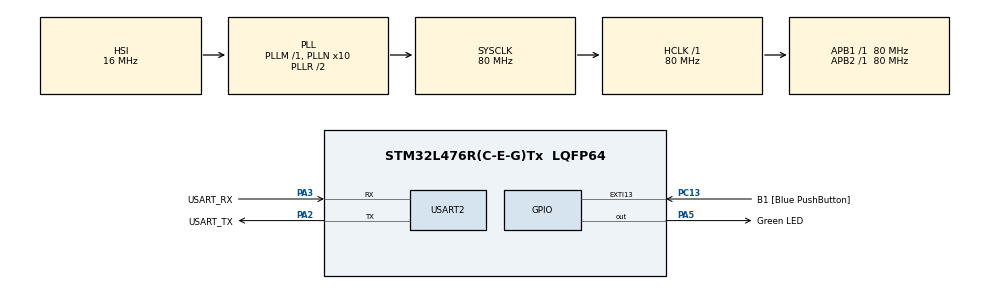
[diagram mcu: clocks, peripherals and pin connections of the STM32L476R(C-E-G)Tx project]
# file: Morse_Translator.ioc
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Dma.Request0=USART2_RX
Dma.Request1=USART2_TX
Dma.USART2_RX.0.Direction=DMA_PERIPH_TO_MEMORY
Dma.USART2_RX.0.Instance=DMA1_Channel6
Dma.USART2_RX.0.MemDataAlignment=DMA_MDATAALIGN_BYTE
Dma.USART2_RX.0.MemInc=DMA_MINC_ENABLE
Dma.USART2_RX.0.Mode=DMA_NORMAL
Dma.USART2_RX.0.PeriphDataAlignment=DMA_PDATAALIGN_BYTE
Dma.USART2_RX.0.PeriphInc=DMA_PINC_DISABLE
Dma.USART2_RX.0.Priority=DMA_PRIORITY_LOW
Dma.USART2_TX.1.Direction=DMA_MEMORY_TO_PERIPH
Dma.USART2_TX.1.Instance=DMA1_Channel7
Dma.USART2_TX.1.MemDataAlignment=DMA_MDATAALIGN_BYTE
Dma.USART2_TX.1.MemInc=DMA_MINC_ENABLE
Dma.USART2_TX.1.Mode=DMA_NORMAL
Dma.USART2_TX.1.PeriphDataAlignment=DMA_PDATAALIGN_BYTE
Dma.USART2_TX.1.PeriphInc=DMA_PINC_DISABLE
Dma.USART2_TX.1.Priority=DMA_PRIORITY_LOW
Mcu.Family=STM32L4
Mcu.Name=STM32L476R(C-E-G)Tx
Mcu.Package=LQFP64
NVIC.DMA1_Channel6_IRQn=true\:0\:0\:false\:false\:true\:false\:true
NVIC.DMA1_Channel7_IRQn=true\:0\:0\:false\:false\:true\:false\:true
NVIC.PriorityGroup=NVIC_PRIORITYGROUP_4
NVIC.USART2_IRQn=true\:0\:0\:false\:false\:true\:true\:true
PA13\ (JTMS-SWDIO).GPIO_Label=TMS
PA13\ (JTMS-SWDIO).Mode=Serial_Wire
PA13\ (JTMS-SWDIO).Signal=SYS_JTMS-SWDIO
PA14\ (JTCK-SWCLK).GPIO_Label=TCK
PA14\ (JTCK-SWCLK).Mode=Serial_Wire
PA14\ (JTCK-SWCLK).Signal=SYS_JTCK-SWCLK
PA2.GPIO_Label=USART_TX
PA2.GPIO_Mode=GPIO_MODE_AF_PP
PA2.GPIO_PuPd=GPIO_NOPULL
PA2.GPIO_Speed=GPIO_SPEED_FREQ_VERY_HIGH
PA2.Mode=Asynchronous
PA2.Signal=USART2_TX
PA3.GPIO_Label=USART_RX
PA3.GPIO_Mode=GPIO_MODE_AF_PP
PA3.GPIO_PuPd=GPIO_NOPULL
PA3.GPIO_Speed=GPIO_SPEED_FREQ_VERY_HIGH
PA3.Mode=Asynchronous
PA3.Signal=USART2_RX
PA5.GPIO_Label=Green LED
PA5.GPIO_ModeDefaultOutputPP=GPIO_MODE_OUTPUT_PP
PA5.GPIO_PuPd=GPIO_NOPULL
PA5.GPIO_Speed=GPIO_SPEED_FREQ_LOW
PA5.Signal=GPIO_Output
PB3\ (JTDO-TRACESWO).GPIO_Label=SWO
PB3\ (JTDO-TRACESWO).Signal=SYS_JTDO-SWO
PC13.GPIO_Label=B1 [Blue PushButton]
PC13.GPIO_ModeDefaultEXTI=GPIO_MODE_IT_FALLING
PC13.GPIO_PuPd=GPIO_NOPULL
PC13.Signal=GPXTI13
PC14-OSC32_IN\ (PC14).Mode=LSE-External-Oscillator
PC14-OSC32_IN\ (PC14).Signal=RCC_OSC32_IN
PC15-OSC32_OUT\ (PC15).Mode=LSE-External-Oscillator
PC15-OSC32_OUT\ (PC15).Signal=RCC_OSC32_OUT
PH0-OSC_IN\ (PH0).Signal=RCC_OSC_IN
PH1-OSC_OUT\ (PH1).Signal=RCC_OSC_OUT
ProjectManager.HeapSize=0x200
ProjectManager.StackSize=0x400
ProjectManager.TargetToolchain=Makefile
RCC.ADCFreq_Value=64000000
RCC.AHBFreq_Value=80000000
RCC.APB1Freq_Value=80000000
RCC.APB1TimFreq_Value=80000000
RCC.APB2Freq_Value=80000000
RCC.APB2TimFreq_Value=80000000
RCC.CortexFreq_Value=80000000
RCC.HCLKFreq_Value=80000000
RCC.HSE_VALUE=8000000
RCC.HSI_VALUE=16000000
RCC.MSI_VALUE=4000000
RCC.PLLN=10
RCC.PLLSourceVirtual=RCC_PLLSOURCE_HSI
RCC.PREFETCH_ENABLE=1
RCC.SYSCLKFreq_VALUE=80000000
RCC.SYSCLKSource=RCC_SYSCLKSOURCE_PLLCLK
RCC.USBFreq_Value=64000000
RCC.VCOOutputFreq_Value=160000000
USART2.OverrunDisableParam=ADVFEATURE_OVERRUN_DISABLE
USART2.VirtualMode-Asynchronous=VM_ASYNC
board=NUCLEO-L476RG

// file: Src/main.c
/* USER CODE BEGIN Header */
/**
  ******************************************************************************
  * @file           : main.c
  * @brief          : Main program body
  ******************************************************************************
  * @attention
  *
  * <h2><center>&copy; Copyright (c) 2021 STMicroelectronics.
  * All rights reserved.</center></h2>
  *
  * This software component is licensed by ST under BSD 3-Clause license,
  * the "License"; You may not use this file except in compliance with the
  * License. You may obtain a copy of the License at:
  *                        opensource.org/licenses/BSD-3-Clause
  *
  ******************************************************************************
  */
/* USER CODE END Header */
#include "main.h"

UART_HandleTypeDef huart2;
DMA_HandleTypeDef hdma_usart2_rx;
DMA_HandleTypeDef hdma_usart2_tx;

/* USER CODE BEGIN PV */

/* Array of Supported Characters for Morse Code. */
static char supported_characters[NUMBER_CHARACTERS] = {
    'A','B','C','D','E','F','G','H','I','J','K','L','M','N','O',
    'P','Q','R','S','T','U','V','W','X','Y','Z',
    '1','2','3','4','5','6','7','8','9','0'
};

/*
 * Array of Morse Code Conversions.
 * "." -> DOT
 * "-" -> DASH
 */
static char morse_code[NUMBER_CHARACTERS][LENGTH_MORSE_MAX] = {
    ".-","-...","-.-.","-..",".","..-.","--.","....","..",".---", "-.-",
    ".-..","--","-.","---",".--.","--.-",".-.","...","-","..-","...-",".--","-..-","-.--","--..",".----",
    "..---","...--","....-",".....","-....","--...","---..","----.","-----"
};

/* Declare Buffer to Transmit Data to UART Peripheral. */
static uint8_t* tx_buff;
/* Declare Variable for Message Prompt. */
static char message_prompt[LENGTH_PROMPT_MAX];

/* Declare Buffer to Receive Data from UART Peripheral. */
static uint8_t rx_buff[LENGTH_PROMPT_MAX];
/* Declare Variable for ASCII String to Convert into Morse Code. */
static char phrase[LENGTH_PHRASE_MAX];

static uint8_t phrase_length;

static uint8_t position_phrase;
static uint8_t remaining_phrase;

/* USER CODE END PV */

void SystemClock_Config(void);
static void MX_GPIO_Init(void);
static void MX_USART2_UART_Init(void);
static void MX_DMA_Init(void);

int main(void)
{

  /* MCU Configuration--------------------------------------------------------*/

  /* Reset of all peripherals, Initializes the Flash interface and the Systick. */
  HAL_Init();

  /* Configure the system clock */
  SystemClock_Config();

  /* USER CODE BEGIN SysInit */

  /* Note: STMCubeMX will configured peripherals in following order.
           The UART peripheral is unable to receive data using the DMA with
           the following configuration. */

  // MX_GPIO_Init();
  // MX_USART2_UART_Init();
  // MX_DMA_Init();

  /* Note: We will call the configuration functions in the following order to
     initialize the DMA variables prior to the UART variables. */

  // MX_GPIO_Init();
  // MX_DMA_Init();
  // MX_USART2_UART_Init();

  /* USER CODE END SysInit */

  /* Initialize all configured peripherals */
  MX_GPIO_Init();
  MX_DMA_Init();
  MX_USART2_UART_Init();
  /* USER CODE BEGIN 2 */

  phrase_length = FALSE;

  position_phrase = FALSE;
  remaining_phrase = TRUE;

  if (getPhrase() == ERROR) Error_Handler();

  /* USER CODE END 2 */

  /* Infinite loop */
  /* USER CODE BEGIN WHILE */

  while(TRUE) {
    if (remaining_phrase <= FALSE) {
      outputPhrase();
      newPhrase();
    }
  }
    /* USER CODE END WHILE */

}

void SystemClock_Config(void)
{
  RCC_OscInitTypeDef RCC_OscInitStruct = {0};
  RCC_ClkInitTypeDef RCC_ClkInitStruct = {0};

  /** Configure the main internal regulator output voltage
  */
  if (HAL_PWREx_ControlVoltageScaling(PWR_REGULATOR_VOLTAGE_SCALE1) != HAL_OK)
  {
    Error_Handler();
  }
  /** Initializes the RCC Oscillators according to the specified parameters
  * in the RCC_OscInitTypeDef structure.
  */
  RCC_OscInitStruct.OscillatorType = RCC_OSCILLATORTYPE_HSI;
  RCC_OscInitStruct.HSIState = RCC_HSI_ON;
  RCC_OscInitStruct.HSICalibrationValue = RCC_HSICALIBRATION_DEFAULT;
  RCC_OscInitStruct.PLL.PLLState = RCC_PLL_ON;
  RCC_OscInitStruct.PLL.PLLSource = RCC_PLLSOURCE_HSI;
  RCC_OscInitStruct.PLL.PLLM = 1;
  RCC_OscInitStruct.PLL.PLLN = 10;
  RCC_OscInitStruct.PLL.PLLP = RCC_PLLP_DIV7;
  RCC_OscInitStruct.PLL.PLLQ = RCC_PLLQ_DIV2;
  RCC_OscInitStruct.PLL.PLLR = RCC_PLLR_DIV2;
  if (HAL_RCC_OscConfig(&RCC_OscInitStruct) != HAL_OK)
  {
    Error_Handler();
  }
  /** Initializes the CPU, AHB and APB buses clocks
  */
  RCC_ClkInitStruct.ClockType = RCC_CLOCKTYPE_HCLK|RCC_CLOCKTYPE_SYSCLK
                              |RCC_CLOCKTYPE_PCLK1|RCC_CLOCKTYPE_PCLK2;
  RCC_ClkInitStruct.SYSCLKSource = RCC_SYSCLKSOURCE_PLLCLK;
  RCC_ClkInitStruct.AHBCLKDivider = RCC_SYSCLK_DIV1;
  RCC_ClkInitStruct.APB1CLKDivider = RCC_HCLK_DIV1;
  RCC_ClkInitStruct.APB2CLKDivider = RCC_HCLK_DIV1;

  if (HAL_RCC_ClockConfig(&RCC_ClkInitStruct, FLASH_LATENCY_4) != HAL_OK)
  {
    Error_Handler();
  }
}

static void MX_USART2_UART_Init(void)
{

  huart2.Instance = USART2;
  huart2.Init.BaudRate = 115200;
  huart2.Init.WordLength = UART_WORDLENGTH_8B;
  huart2.Init.StopBits = UART_STOPBITS_1;
  huart2.Init.Parity = UART_PARITY_NONE;
  huart2.Init.Mode = UART_MODE_TX_RX;
  huart2.Init.HwFlowCtl = UART_HWCONTROL_NONE;
  huart2.Init.OverSampling = UART_OVERSAMPLING_16;
  huart2.Init.OneBitSampling = UART_ONE_BIT_SAMPLE_DISABLE;
  huart2.AdvancedInit.AdvFeatureInit = UART_ADVFEATURE_RXOVERRUNDISABLE_INIT;
  huart2.AdvancedInit.OverrunDisable = UART_ADVFEATURE_OVERRUN_DISABLE;
  if (HAL_UART_Init(&huart2) != HAL_OK)
  {
    Error_Handler();
  }

}

static void MX_DMA_Init(void)
{

  /* DMA controller clock enable */
  __HAL_RCC_DMA1_CLK_ENABLE();

  /* DMA interrupt init */
  /* DMA1_Channel6_IRQn interrupt configuration */
  HAL_NVIC_SetPriority(DMA1_Channel6_IRQn, 0, 0);
  HAL_NVIC_EnableIRQ(DMA1_Channel6_IRQn);
  /* DMA1_Channel7_IRQn interrupt configuration */
  HAL_NVIC_SetPriority(DMA1_Channel7_IRQn, 0, 0);
  HAL_NVIC_EnableIRQ(DMA1_Channel7_IRQn);

}

static void MX_GPIO_Init(void)
{
  GPIO_InitTypeDef GPIO_InitStruct = {0};

  /* GPIO Ports Clock Enable */
  __HAL_RCC_GPIOC_CLK_ENABLE();
  __HAL_RCC_GPIOH_CLK_ENABLE();
  __HAL_RCC_GPIOA_CLK_ENABLE();
  __HAL_RCC_GPIOB_CLK_ENABLE();

  /*Configure GPIO pin Output Level */
  HAL_GPIO_WritePin(Green_LED_GPIO_Port, Green_LED_Pin, GPIO_PIN_RESET);

  /*Configure GPIO pin : B1_Pin */
  GPIO_InitStruct.Pin = B1_Pin;
  GPIO_InitStruct.Mode = GPIO_MODE_IT_FALLING;
  GPIO_InitStruct.Pull = GPIO_NOPULL;
  HAL_GPIO_Init(B1_GPIO_Port, &GPIO_InitStruct);

  /*Configure GPIO pin : Green_LED_Pin */
  GPIO_InitStruct.Pin = Green_LED_Pin;
  GPIO_InitStruct.Mode = GPIO_MODE_OUTPUT_PP;
  GPIO_InitStruct.Pull = GPIO_NOPULL;
  GPIO_InitStruct.Speed = GPIO_SPEED_FREQ_LOW;
  HAL_GPIO_Init(Green_LED_GPIO_Port, &GPIO_InitStruct);

}

/* USER CODE BEGIN 4 */

/*******************/
/* UART Tx and Rx. */
/******************/

/*
 * Get Phrase From User to Convert into Morse Code.
 *
 * PARAM: huart is a pointer to the UART handle struct; Size is a uint16_t
 *        representing the number of characters sent to the UART peripheral.
 * PRE: UART peripheral is initialized with appropriate parameters for
 *      DMA receive and transfer functionality with IDLE line detection.
 * POST: characters received in rx_buff are retransmitted to UART peripheral
 *       (intended to be in real time);
 *       contents of rx_buff copied into phrase at position_phrase;
 *       UART peripheral ready to receive rest of phrase if incomplete
 * RETURN: TRUE if successful phrase acquisition; otherwise ERROR.
 */
void HAL_UARTEx_RxEventCallback(UART_HandleTypeDef *huart, uint16_t Size) {
  if (huart->Instance == USART2) {
    /* Echo User Input to Terminal in DMA Mode. */
    HAL_UART_Transmit_DMA(
        huart, // UART Handler
        rx_buff, // Data Buffer
        Size // Size
    );
    /* Disable DMA Channel 7 Transfer Half Transfer Complete Interrupt. */
    __HAL_DMA_DISABLE_IT(&hdma_usart2_tx, DMA_IT_HT);

    /* Copy Contents of String Prior to Morse Code Translation. */
    strncpy(
      (phrase + position_phrase), // Destination Buffer
      rx_buff, // Source Buffer
      Size // Size
    );

    /* Update Phrase Position. */
    position_phrase += Size;
    remaining_phrase = phrase_length - position_phrase;

    if (remaining_phrase >= TRUE) {
      /* Restart the DMA to Receive the Rest of String. */
      HAL_UARTEx_ReceiveToIdle_DMA(
          huart, // UART Handler
          rx_buff, // Data Buffer
          (remaining_phrase * sizeof(char)) // Size
      );
      /* Disable DMA Channel 6 Half Transfer Complete Interrupt. */
      __HAL_DMA_DISABLE_IT(&hdma_usart2_rx, DMA_IT_HT);
    }
  }
}

/*
 * Get Phrase From User to Convert into Morse Code.
 *
 * PARAM: VOID
 * PRE: UART peripheral is initialized with appropriate parameters for
 *      DMA receive and transfer with IDLE line detection.
 * POST: instructions sent over to user via UART peripheral and phrase is acquired.
 * RETURN: TRUE if successful phrase acquisition; otherwise ERROR.
 */
int getPhrase() {
  /* Initial Message Prompt. */
  tx_buff = (uint8_t*)(strcpy(message_prompt, "\n\r****Terminal Accepts Only Capital Letters and Arabic Numerals****\n\n\r"));
  /* Transmit Message Prompt in Polling Mode. */
  HAL_UART_Transmit(
      &huart2, // UART Handler
      tx_buff, // Data Buffer
      (strlen(message_prompt) * sizeof(*message_prompt)), // Size
      HAL_MAX_DELAY // Timeout
  );

  /* Modify Message Prompt. */
  tx_buff = (uint8_t*)(strcpy(message_prompt, "\n\rSize of Phrase to Convert into Morse Code\n\r(Must Be Greater Than 0, Less Than 9) : "));
  /* Transmit Message Prompt in Polling Mode. */
  HAL_UART_Transmit(
      &huart2, // UART Handler
      tx_buff, // Data Buffer
      (strlen(message_prompt) * sizeof(*message_prompt)), // Size
      HAL_MAX_DELAY // Timeout
  );

  /* Receive Length of String to Convert into Morse Code in Polling Mode. */
  HAL_UART_Receive(
      &huart2, // UART Handler
      rx_buff, // Data Buffer
      sizeof(char), // Size
      HAL_MAX_DELAY // Timeout
  );
  /* Echo User Input to Terminal in Polling Mode. */
  HAL_UART_Transmit(
      &huart2, // UART Handler
      rx_buff, // Data Buffer
      sizeof(char), // Size
      HAL_MAX_DELAY // Timeout
  );

  /* Check if Input is a Valid Single Digit Positive Integer. */
  phrase_length = atoi(rx_buff);
  if ((phrase_length < LENGTH_PHRASE_MIN) || (phrase_length > LENGTH_PHRASE_MAX)) return ERROR;

  /* Modify Message Prompt. */
  tx_buff = (uint8_t*)(strcpy(message_prompt, "\n\rEnter Phrase : "));
  /* Prompt for String to Convert into Morse Code in Polling Mode. */
  HAL_UART_Transmit(
      &huart2, // UART Handler
      tx_buff, // Data Buffer
      (strlen(message_prompt) * sizeof(*message_prompt)), // Size
      HAL_MAX_DELAY // Timeout
  );

  /* Receive String to Convert into Morse Code. */
  HAL_UARTEx_ReceiveToIdle_DMA(
      &huart2, // UART Handler
      rx_buff, // Data Buffer
      (phrase_length * sizeof(char)) // Size
  );
  /* Disable DMA Channel 6 Half Transfer Complete Interrupt. */
  __HAL_DMA_DISABLE_IT(&hdma_usart2_rx, DMA_IT_HT);

  return TRUE;
}

/*
 * Prepare to Get New Phrase from UART Peripheral.
 *
 * PARAM: VOID
 * PRE: morse code translation of previous phrase output onto STM32.
 * POST: new phrase is acquired from UART peripheral to translate into morse code.
 * RETURN: VOID
 */
void newPhrase() {
  /* Default Phrase Position. */
  remaining_phrase = TRUE;
  position_phrase = FALSE;

  /* Modify Message Prompt. */
  tx_buff = (uint8_t*)(strcpy(message_prompt, "\n\n\rNew Phrase...\n\r"));
  /* Transmit Message Prompt in Polling Mode. */
  HAL_UART_Transmit(
      &huart2, // UART Handler
      tx_buff, // Data Buffer
      (strlen(message_prompt) * sizeof(*message_prompt)), // Size
      HAL_MAX_DELAY // Delay
  );

  HAL_Delay(DASH_DURATION);

  /* Clear Screen (Assume PuTTY SSH Client). */
  tx_buff = (uint8_t*)(strcpy(message_prompt, CLEAR_PUTTY));
  /* Transmit Message Prompt in Polling Mode. */
  HAL_UART_Transmit(
      &huart2, // UART Handler
      tx_buff, // Data Buffer
      (strlen(message_prompt) * sizeof(*message_prompt)), // Size
      HAL_MAX_DELAY // Delay
  );

  if (getPhrase() == ERROR) Error_Handler();
}

/*****************************/
/* Perform Morse Conversion. */
/*****************************/

/*
 * Identify Index in Which Character is Stored.
 *
 * PARAM: input_character is a char to be converted to morse code.
 * PRE: input_character is an element of supported_characters array.
 * POST:  VOID
 * RETURN: index in which character is stored in supported_characters array; otherwise ERROR.
 */
int returnMorseForCharacter(char input_character) {
    for (int array_index = 0; array_index < NUMBER_CHARACTERS; array_index++) {
        if (supported_characters[array_index] == input_character) return array_index;
    }
    return ERROR;
}

/***********************/
/* GPIO Output on LED. */
/***********************/

/*
 * Convert Morse Code Conversion of Phrase on STM32 Green LED.
 *
 * PARAM: VOID
 * PRE: LENGTH_PHRASE_MIN <= phrase_length <= LENGTH_PHRASE_MAX
 * POST: morse code translation of phrase is output onto the stm32.
 * RETURN: VOID
 */
void outputPhrase() {
    /*********************************/
    /******** Local Variables ********/
    /*********************************/

    char letter;

    int morse_length = FALSE;

    int phrase_index = FALSE;
    int morse_index = FALSE;

    /* Output Morse Conversion Onto STM32. */
    for (phrase_index = 0; phrase_index < phrase_length; phrase_index++) {
        letter = phrase[phrase_index];

        if (letter == ' ')  {
            changeWord();
        }
        else {
            morse_index = returnMorseForCharacter(letter);

            // Output Morse Code Only for Valid Input.
            if (morse_index == ERROR) Error_Handler();

            morse_length = strlen(morse_code[morse_index]);
            outputCharacter(morse_code[morse_index], morse_length);
        }
    }
}

/*
 * Display the Morse Code Conversion For an ASCII Character on the STM 32 Green LED.
 *
 * PARAM: morse_conversion is a string respresenting the morse message to be displayed;
 *        morse_length is an integer representing the length.
 * PRE: VOID
 * POST: led blinks morse conversion
 * RETURN: VOID
 */
void outputCharacter(char* morse_conversion, int morse_length) {
    for (int morse_index = 0; morse_index < morse_length; morse_index++) {
        if (morse_conversion[morse_index] == DOT) outputDot();
        else if (morse_conversion[morse_index] == DASH) outputDash();
        else Error_Handler();
    }
    // Delay Display after Each Character to Differentiate Letters on LED.
    changeLetter();
}

/*
 * Outputs a Dot on the STM32 Green LED.
 *
 * PARAM: VOID
 * PRE: NULL (no pre-conditions)
 * POST:  led turned on for DOT_DURATION.
 * RETURN:  VOID
 */
void outputDot() {
    HAL_GPIO_WritePin(Green_LED_GPIO_Port, Green_LED_Pin, GPIO_PIN_SET);
    HAL_Delay(DOT_DURATION);
    HAL_GPIO_WritePin(Green_LED_GPIO_Port, Green_LED_Pin, GPIO_PIN_RESET);

    /* Follow With a Short Delay Between Dot/Dash in Same Letter. */
    HAL_Delay(SAME_LETTER_DURATION);
}

/*
 * Outputs a Dash on the STM32 Green LED.
 *
 * PARAM: VOID
 * PRE: NULL (no pre-conditions)
 * POST:  led turned on for DASH_DURATION.
 * RETURN:  VOID
 */
void outputDash() {
    HAL_GPIO_WritePin(Green_LED_GPIO_Port, Green_LED_Pin, GPIO_PIN_SET);
    HAL_Delay(DASH_DURATION);
    HAL_GPIO_WritePin(Green_LED_GPIO_Port, Green_LED_Pin, GPIO_PIN_RESET);

    /* Follow With a Short Delay Between Dot/Dash in Same Letter. */
    HAL_Delay(SAME_LETTER_DURATION);
}

/*
 * Delay Display on the STM32 Green LED to Indicate Change in Letter.
 *
 * PARAM: VOID
 * PRE: NULL (no pre-conditions)
 * POST:  led turned off for DIFFERENT_LETTER_DURATION.
 * RETURN: VOID
 */
void changeLetter() {
  HAL_GPIO_WritePin(Green_LED_GPIO_Port, Green_LED_Pin, GPIO_PIN_RESET);
  HAL_Delay(DIFFERENT_LETTER_DURATION);
}

/*
 * Delay Display on the STM32 Green LED to Indicate Change in Word.
 *
 * PARAM: VOID
 * PRE: NULL (no pre-conditions)
 * POST:  NULL (no side-effects)
 * RETURN:  VOID
 */
void changeWord() {
  HAL_GPIO_WritePin(Green_LED_GPIO_Port, Green_LED_Pin, GPIO_PIN_RESET);
  HAL_Delay(DIFFERENT_WORD_DURATION);
}

/*****************/
/* Error Message */
/*****************/

/*
 * Send an Error Message to the Terminal and Reset System.
 *
 * PARAM: VOID
 * PRE: invalid setup of program.
 * POST: stm32 system undergoes software reset.
 * RETURN: VOID
 */
void invalidInput() {
  /*******************/
  /* Local Variables */
  /*******************/

  tx_buff = (uint8_t*)(strcpy(message_prompt, "\n\n\rERROR! Invalid Configuration...\n\rRestarting System...\n\r"));
  /* Transmit Error Message in Polling Mode. */
  HAL_UART_Transmit(
    &huart2, // UART Handler
    tx_buff, // Data Buffer
    (strlen(message_prompt) * sizeof(char)), // Size
    HAL_MAX_DELAY // Timeout
  );

  /* Clear Screen (Assume PuTTY SSH Client). */
  tx_buff = (uint8_t*)(strcpy(message_prompt, CLEAR_PUTTY));
  /* Transmit Message Prompt in Polling Mode. */
  HAL_UART_Transmit(
      &huart2, // UART Handler
      tx_buff, // Data Buffer
      (strlen(message_prompt) * sizeof(*message_prompt)), // Size,
      HAL_MAX_DELAY // Delay
  );

  HAL_Delay(DASH_DURATION);

  /* STM32 System Reset. */
  HAL_NVIC_SystemReset();
}

/* USER CODE END 4 */

void Error_Handler(void)
{
  /* USER CODE BEGIN Error_Handler_Debug */
  invalidInput();
  /* USER CODE END Error_Handler_Debug */
}

/************************ (C) COPYRIGHT STMicroelectronics *****END OF FILE****/
